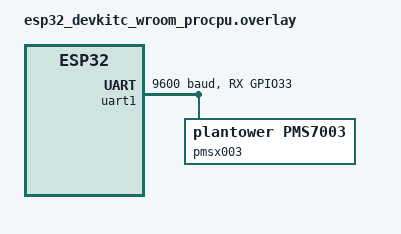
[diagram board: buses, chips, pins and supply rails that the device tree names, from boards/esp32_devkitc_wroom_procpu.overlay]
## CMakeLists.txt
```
# SPDX-License-Identifier: Apache-2.0

cmake_minimum_required(VERSION 3.20.0)
find_package(Zephyr REQUIRED HINTS $ENV{ZEPHYR_BASE})
project(pmsx003)

target_sources(app PRIVATE src/main.c)
```

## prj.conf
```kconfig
CONFIG_LOG=y
CONFIG_SENSOR=y
```

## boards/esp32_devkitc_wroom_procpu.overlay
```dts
/*
 * Copyright (c) 2017, Intel Corporation
 *
 * SPDX-License-Identifier: Apache-2.0
 */
 
&pinctrl {

    uart1_default: uart1_default {
        group2 {
            pinmux = <UART1_RX_GPIO33>;
            bias-pull-up;
        };
    };
};

&uart1 {
    status = "okay";
    current-speed = <9600>;
    pinctrl-0 = <&uart1_default>;
    pmsx003: pmsx003 {
        compatible = "plantower,pms7003";
        status = "okay";
    };
};
```

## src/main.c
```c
/*
 * Copyright (c) 2017, Intel Corporation
 *
 * SPDX-License-Identifier: Apache-2.0
 */

#include "zephyr/device.h"
#include <zephyr/drivers/sensor.h>
#include <zephyr/kernel.h>
#include <zephyr/logging/log.h>

LOG_MODULE_REGISTER(MAIN);

struct pms7003_readings {
	struct sensor_value pm_1_0_cf;
	struct sensor_value pm_2_5_cf;
	struct sensor_value pm_10_cf;
	struct sensor_value pm_1_0_atm;
	struct sensor_value pm_2_5_atm;
	struct sensor_value pm_10_0_atm;
	struct sensor_value pm_0_3_count;
	struct sensor_value pm_0_5_count;
	struct sensor_value pm_1_0_count;
	struct sensor_value pm_2_5_count;
	struct sensor_value pm_5_0_count;
	struct sensor_value pm_10_0_count;
};

int main()
{
	const struct device *dev = DEVICE_DT_GET(DT_NODELABEL(pmsx003));

	if (!device_is_ready(dev)) {
		LOG_ERR("%s is not ready", dev->name);
		return 0;
	}

	while (1) {

		struct pms7003_readings readings;

		sensor_sample_fetch(dev);

		sensor_channel_get(dev, SENSOR_CHAN_PM_1_0_CF, &readings.pm_1_0_cf);
		sensor_channel_get(dev, SENSOR_CHAN_PM_2_5_CF, &readings.pm_2_5_cf);
		sensor_channel_get(dev, SENSOR_CHAN_PM_10_CF, &readings.pm_10_cf);
		sensor_channel_get(dev, SENSOR_CHAN_PM_1_0, &readings.pm_1_0_atm);
		sensor_channel_get(dev, SENSOR_CHAN_PM_2_5, &readings.pm_2_5_atm);
		sensor_channel_get(dev, SENSOR_CHAN_PM_10, &readings.pm_10_0_atm);
		sensor_channel_get(dev, SENSOR_CHAN_PM_0_3_COUNT, &readings.pm_0_3_count);
		sensor_channel_get(dev, SENSOR_CHAN_PM_0_5_COUNT, &readings.pm_0_5_count);
		sensor_channel_get(dev, SENSOR_CHAN_PM_1_0_COUNT, &readings.pm_1_0_count);
		sensor_channel_get(dev, SENSOR_CHAN_PM_2_5_COUNT, &readings.pm_2_5_count);
		sensor_channel_get(dev, SENSOR_CHAN_PM_5_0_COUNT, &readings.pm_5_0_count);
		sensor_channel_get(dev, SENSOR_CHAN_PM_10_0_COUNT, &readings.pm_10_0_count);

		LOG_INF("pm1.0_cf = %d.%02d µg/m³", readings.pm_1_0_cf.val1, readings.pm_1_0_cf.val2);
		LOG_INF("pm2.5_cf = %d.%02d µg/m³", readings.pm_2_5_cf.val1, readings.pm_2_5_cf.val2);
		LOG_INF("pm10_cf = %d.%02d µg/m³", readings.pm_10_cf.val1, readings.pm_10_cf.val2);
		LOG_INF("pm1.0_atm = %d.%02d µg/m³", readings.pm_1_0_atm.val1, readings.pm_1_0_atm.val2);
		LOG_INF("pm2.5_atm = %d.%02d µg/m³", readings.pm_2_5_atm.val1, readings.pm_2_5_atm.val2);
		LOG_INF("pm10_atm = %d.%02d µg/m³", readings.pm_10_0_atm.val1, readings.pm_10_0_atm.val2);
		LOG_INF("pm0.3_count = %d particles/0.1L", readings.pm_0_3_count.val1);
		LOG_INF("pm0.5_count = %d particles/0.1L", readings.pm_0_5_count.val1);
		LOG_INF("pm1.0_count = %d particles/0.1L", readings.pm_1_0_count.val1);
		LOG_INF("pm2.5_count = %d particles/0.1L", readings.pm_2_5_count.val1);
		LOG_INF("pm5.0_count = %d particles/0.1L", readings.pm_5_0_count.val1);
		LOG_INF("pm10_count = %d particles/0.1L", readings.pm_10_0_count.val1);

		k_sleep(K_SECONDS(10));
	}
}
```
